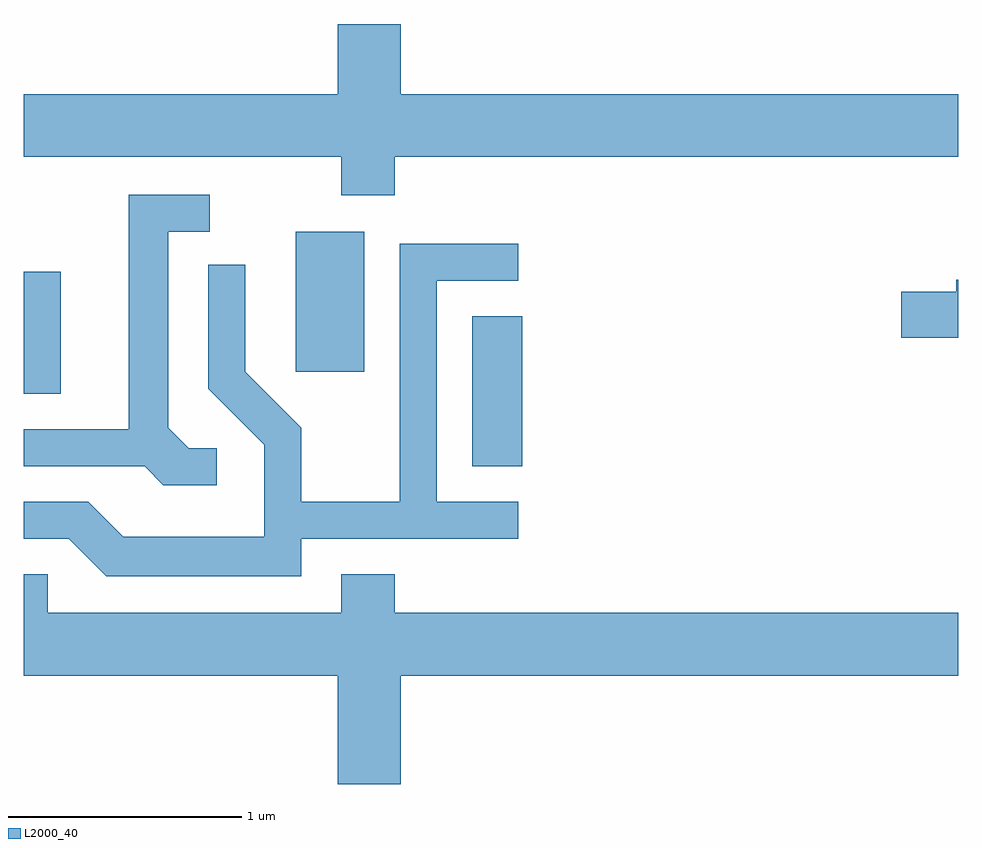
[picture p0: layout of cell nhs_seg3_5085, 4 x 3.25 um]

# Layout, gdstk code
import gdstk
lib = gdstk.Library(unit=1e-6, precision=1e-09)
def R(c, l, rs):  # rectangles x0, y0, x1, y1
    for r in rs: c.add(gdstk.rectangle(r[:2], r[2:], *l))
def P(c, l, *ps):  # polygons
    for p in ps: c.add(gdstk.Polygon(p, *l))
L2000_40 = (2000, 40)

nhs_seg3_5085 = lib.new_cell('nhs_seg3_5085')
R(nhs_seg3_5085, L2000_40, [(335.531,1231.251,335.744,1231.894), (333.611,1231.561,333.769,1232.084), (334.776,1231.656,335.069,1232.254)])
P(nhs_seg3_5085, L2000_40, [(335.199,1232.576),(337.611,1232.576),(337.611,1232.844),(335.224,1232.844),(335.224,1233.144),(334.956,1233.144),(334.956,1232.844),(333.611,1232.844),(333.611,1232.576),(334.971,1232.576),(334.971,1232.411),(335.199,1232.411)],
  [(334.438,1231.329),(334.317,1231.329),(334.229,1231.417),(334.229,1232.256),(334.408,1232.256),(334.408,1232.414),(334.061,1232.414),(334.061,1231.409),(333.611,1231.409),(333.611,1231.251),(334.129,1231.251),(334.209,1231.171),(334.438,1231.171)],
  [(334.799,1230.941),(335.728,1230.941),(335.728,1231.099),(335.379,1231.099),(335.379,1232.046),(335.728,1232.046),(335.728,1232.204),(335.221,1232.204),(335.221,1231.099),(334.799,1231.099),(334.799,1231.417),(334.559,1231.657),(334.559,1232.113),(334.401,1232.113),(334.401,1231.584),(334.641,1231.344),(334.641,1230.949),(334.037,1230.949),(333.887,1231.099),(333.611,1231.099),(333.611,1230.941),(333.804,1230.941),(333.964,1230.781),(334.799,1230.781)],
  [(337.611,1232.049),(337.601,1232.049),(337.601,1231.999),(337.366,1231.999),(337.366,1231.801),(337.611,1231.801)],
  [(335.224,1230.356),(337.611,1230.356),(337.611,1230.624),(335.199,1230.624),(335.199,1230.789),(334.971,1230.789),(334.971,1230.624),(333.714,1230.624),(333.714,1230.789),(333.611,1230.789),(333.611,1230.356),(334.956,1230.356),(334.956,1229.892),(335.224,1229.892)])

lib.write_gds('nhs_seg3_5085.gds')
